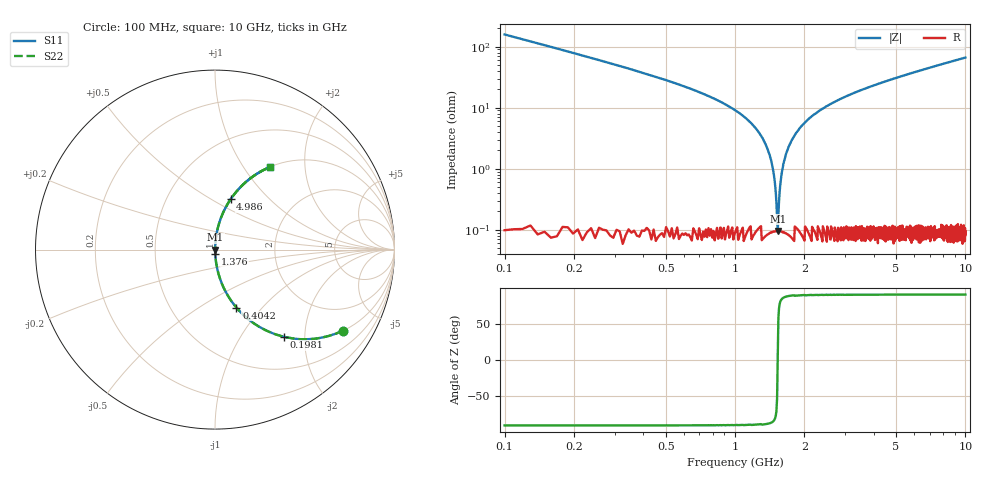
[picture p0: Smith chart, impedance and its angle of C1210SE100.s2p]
! AVX Thin Film Operation		Date: April 2012
! Description: Accu-P® Series, Thin Film, SMD, RF Capacitor
! Part Number: 12101J100FBTTR
!	100	MHz	-	10.05	GHz
!	Serial	Measurements
#	MHZ	S	MA	R	50
!	S11	S21	S12	S22
!	dB	Phase	dB	Phase	dB	Phase	dB	Phase
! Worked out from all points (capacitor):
!   1010 points, 100 MHz to 10 GHz, reference 50 ohm
!   read as one part in series: C = 10 pF near 149.1 MHz
!   lowest |Z| = 95.3 mohm at 1.533 GHz (marker M1)
!   series resonance near 1.532 GHz, so ESL is about 1.1 nH
!   S11 on the Smith chart (normalised r, x): 100 MHz: 1.00, -3.17; 198.1 MHz: 1.00, -1.58; 404.2 MHz: 1.00, -0.73; 1.376 GHz: 1.00, -0.04; 4.986 GHz: 1.00, +0.61; 10 GHz: 1.00, +1.32
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100  0.845 -32.2  0.534 57.7  0.534 57.7  0.845 -32.2
198.117  0.62 -51.7  0.784 38.3  0.784 38.3  0.62 -51.7
286.422  0.472 -61.7  0.881 28.2  0.881 28.2  0.472 -61.7
404.163  0.344 -69.8  0.938 20.1  0.938 20.1  0.344 -69.8
1090.981  0.072 -85.2  0.997 4.1  0.997 4.1  0.072 -85.2
1267.592  0.04 -86.4  0.998 2.3  0.998 2.3  0.04 -86.4
1375.52  0.022 -86.4  0.999 1.3  0.999 1.3  0.022 -86.4
1444.202  0.012 -85.1  0.999 0.7  0.999 0.7  0.012 -85.1
1503.072  0.00406 -77.0  0.999 0.2  0.999 0.2  0.00406 -77.0
1532.507  0.000902 4.2  0.999 -0.0  0.999 -0.0  0.000902 4.2
1561.943  0.00412 77.1  0.999 -0.2  0.999 -0.2  0.00412 77.1
1611.001  0.01 84.5  0.999 -0.6  0.999 -0.6  0.01 84.5
1640.436  0.014 85.6  0.999 -0.8  0.999 -0.8  0.014 85.6
1758.176  0.029 86.6  0.999 -1.6  0.999 -1.6  0.029 86.6
1964.222  0.052 86.0  0.998 -3.0  0.998 -3.0  0.052 86.0
2346.878  0.091 84.2  0.995 -5.2  0.995 -5.2  0.091 84.2
3406.541  0.181 79.3  0.983 -10.4  0.983 -10.4  0.181 79.3
4986.224  0.293 72.8  0.955 -17.0  0.955 -17.0  0.293 72.8
5054.906  0.297 72.6  0.954 -17.3  0.954 -17.3  0.297 72.6
6703.271  0.395 66.6  0.918 -23.3  0.918 -23.3  0.395 66.6
8351.635  0.48 61.2  0.877 -28.7  0.877 -28.7  0.48 61.2
10000  0.552 56.4  0.833 -33.5  0.833 -33.5  0.552 56.4
